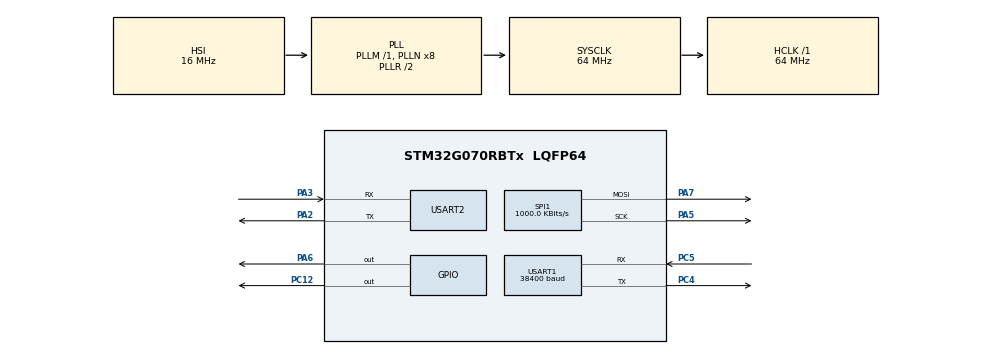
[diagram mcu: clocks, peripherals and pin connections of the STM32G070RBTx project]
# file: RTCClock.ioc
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Dma.Request0=SPI1_TX
Dma.SPI1_TX.0.Direction=DMA_MEMORY_TO_PERIPH
Dma.SPI1_TX.0.EventEnable=DISABLE
Dma.SPI1_TX.0.Instance=DMA1_Channel1
Dma.SPI1_TX.0.MemDataAlignment=DMA_MDATAALIGN_BYTE
Dma.SPI1_TX.0.MemInc=DMA_MINC_ENABLE
Dma.SPI1_TX.0.Mode=DMA_NORMAL
Dma.SPI1_TX.0.PeriphDataAlignment=DMA_PDATAALIGN_BYTE
Dma.SPI1_TX.0.PeriphInc=DMA_PINC_DISABLE
Dma.SPI1_TX.0.Polarity=HAL_DMAMUX_REQ_GEN_RISING
Dma.SPI1_TX.0.Priority=DMA_PRIORITY_HIGH
Dma.SPI1_TX.0.RequestNumber=1
Dma.SPI1_TX.0.SignalID=NONE
Dma.SPI1_TX.0.SyncEnable=DISABLE
Dma.SPI1_TX.0.SyncPolarity=HAL_DMAMUX_SYNC_NO_EVENT
Dma.SPI1_TX.0.SyncRequestNumber=1
Dma.SPI1_TX.0.SyncSignalID=NONE
Mcu.Family=STM32G0
Mcu.Name=STM32G070RBTx
Mcu.Package=LQFP64
NVIC.DMA1_Channel1_IRQn=true\:0\:0\:false\:false\:true\:false\:true\:true
NVIC.RTC_TAMP_IRQn=true\:0\:0\:false\:false\:true\:true\:true\:true
NVIC.TIM7_IRQn=true\:0\:0\:false\:false\:true\:true\:true\:true
NVIC.USART1_IRQn=true\:0\:0\:false\:false\:true\:true\:true\:true
PA13.Mode=Serial_Wire
PA13.Signal=SYS_SWDIO
PA14-BOOT0.Mode=Serial_Wire
PA14-BOOT0.Signal=SYS_SWCLK
PA2.Mode=Asynchronous
PA2.Signal=USART2_TX
PA3.Mode=Asynchronous
PA3.Signal=USART2_RX
PA5.Mode=TX_Only_Simplex_Unidirect_Master
PA5.Signal=SPI1_SCK
PA6.GPIO_Speed=GPIO_SPEED_FREQ_HIGH
PA6.Signal=GPIO_Output
PA7.Mode=TX_Only_Simplex_Unidirect_Master
PA7.Signal=SPI1_MOSI
PC12.Signal=GPIO_Output
PC14-OSC32_IN\ (PC14).Mode=LSE-External-Oscillator
PC14-OSC32_IN\ (PC14).Signal=RCC_OSC32_IN
PC15-OSC32_OUT\ (PC15).Mode=LSE-External-Oscillator
PC15-OSC32_OUT\ (PC15).Signal=RCC_OSC32_OUT
PC4.Mode=Asynchronous
PC4.Signal=USART1_TX
PC5.Mode=Asynchronous
PC5.Signal=USART1_RX
ProjectManager.HeapSize=0x400
ProjectManager.StackSize=0x600
ProjectManager.TargetToolchain=STM32CubeIDE
RCC.ADCFreq_Value=64000000
RCC.AHBFreq_Value=64000000
RCC.CortexFreq_Value=64000000
RCC.EXTERNAL_CLOCK_VALUE=12288000
RCC.HCLKFreq_Value=64000000
RCC.HSE_VALUE=8000000
RCC.HSI_VALUE=16000000
RCC.RTCClockSelection=RCC_RTCCLKSOURCE_LSE
RCC.SYSCLKFreq_VALUE=64000000
RCC.SYSCLKSource=RCC_SYSCLKSOURCE_PLLCLK
RCC.VCOOutputFreq_Value=128000000
RTC.Alarm-Alarm\ A=RTC_ALARM_A
RTC.AlarmMaskDateWeekDay-Alarm\ A=RTC_ALARMMASK_DATEWEEKDAY
RTC.AlarmMaskHours-Alarm\ A=RTC_ALARMMASK_HOURS
RTC.AlarmMaskMinutes-Alarm\ A=RTC_ALARMMASK_MINUTES
RTC.Format=RTC_FORMAT_BIN
RTC.Seconds_A-Alarm\ A=1
SPI1.BaudRatePrescaler=SPI_BAUDRATEPRESCALER_64
SPI1.CalculateBaudRate=1000.0 KBits/s
SPI1.DataSize=SPI_DATASIZE_8BIT
SPI1.Direction=SPI_DIRECTION_2LINES
SPI1.FirstBit=SPI_FIRSTBIT_LSB
SPI1.Mode=SPI_MODE_MASTER
SPI1.VirtualType=VM_MASTER
TIM7.Period=60000 - 1
TIM7.Prescaler=64000 - 1
USART1.BaudRate=38400
USART1.VirtualMode-Asynchronous=VM_ASYNC
USART2.VirtualMode-Asynchronous=VM_ASYNC
VP_RTC_VS_RTC_Activate.Mode=RTC_Enabled
VP_RTC_VS_RTC_Alarm_A_Intern.Mode=Alarm A
VP_RTC_VS_RTC_Calendar.Mode=RTC_Calendar
VP_TIM7_VS_ClockSourceINT.Mode=Enable_Timer
board=NUCLEO-G070RB

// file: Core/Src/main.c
/* USER CODE BEGIN Header */
/**
  ******************************************************************************
  * @file           : main.c
  * @brief          : Main program body
  ******************************************************************************
  * @attention
  *
  * Copyright (c) 2024 STMicroelectronics.
  * All rights reserved.
  *
  * This software is licensed under terms that can be found in the LICENSE file
  * in the root directory of this software component.
  * If no LICENSE file comes with this software, it is provided AS-IS.
  *
  ******************************************************************************
  */
/* USER CODE END Header */
#include "main.h"
#include "dma.h"
#include "rtc.h"
#include "spi.h"
#include "tim.h"
#include "usart.h"
#include "gpio.h"

/* USER CODE BEGIN Includes */
#include "UTC.h"
/* USER CODE END Includes */

/* USER CODE BEGIN PV */
#define DEBUG 0
/* USER CODE END PV */

void SystemClock_Config(void);
/* USER CODE BEGIN PFP */
RTC_TimeTypeDef myTime;
RTC_DateTypeDef myDate;
bool Is12HourEnabled = false;
bool IsDST = false;

/* USER CODE END PFP */

/* USER CODE BEGIN 0 */

#define BTN_PIN			GPIO_PIN_0
#define BTN_PORT		GPIOC

uint8_t UTC_Constant = 0;

int8_t status = 0;
uint32_t ms_start;
volatile int NumPress = 0;
uint32_t button_press_time = 0;
uint32_t button_release_time = 0;
uint32_t last_press_time = 0;
uint8_t press_count = 0;
uint8_t button_state = 0;
uint8_t gpsCheck = 0;
uint8_t long_press_detected = 0;
bool inMenu = false;
int rtc_stage = -1;
static int lastCleanTime = -1;

static TimeOffset utcOffset;
int offsetMinutes;

#define BUFF_SIZE 100
char gps_buff[BUFF_SIZE];

//Takes the current status of the button, which is determined by the process_button_events() function,
//and provides functionality for the button and its different presses
void Update_Changes(int btn_status)
{
#if DEBUG==1
	if(btn_status == 1)			{	printf("Button Pressed: Once \r\n"); }
	else if(btn_status == 2)	{	printf("Button Pressed: Twice \r\n");}
	else if(btn_status == 3)	{	printf("Button Pressed: for 5 seconds\r\n");}
#endif

	//Single press changes between daylight savings time
	if(btn_status == 1){
		IsDST = !IsDST;
		BackupSettings();
	}
	//Double tap changes between 12 and 24 hour time
	else if(btn_status == 2){
		Is12HourEnabled = !Is12HourEnabled;
		BackupSettings();
	}
	//Holding the button for 5 seconds allows someone to change their UTC offsets
	else if(btn_status == 3){
		uint8_t utc_set_state = 0, button_state;
		uint32_t utc_ms_count = 0;
		uint8_t menuOpen = 0;
		inMenu = true;

		while(utc_set_state < 10){
			switch(utc_set_state){
				case 0:
					utc_ms_count = HAL_GetTick();
					utc_set_state = 1;
					Show_UTC(UTC_Constant);
					break;

				case 1:
					button_state = HAL_GPIO_ReadPin(BTN_PORT, BTN_PIN);
					if(button_state == GPIO_PIN_RESET){
						//Provides a barrier before it allows the offset to change, if this wasn't here it would
						//add one to the offset as soon as someone got into the menu
						if(menuOpen == 1) {
							if(UTC_Constant >= 38)	UTC_Constant = 1;
							else					UTC_Constant++;
						}
						HAL_Delay(100);
						#if DEBUG == 1
						//printf("new utc= %d \r\n", UTC_Constant);
						#endif
						utc_ms_count = HAL_GetTick();
						Show_UTC(UTC_Constant);
						menuOpen = 1;

						//This barrier makes sure the program doesn't loop and add to the offset while someone is
						//holding their finger on the button
						while(button_state == HAL_GPIO_ReadPin(BTN_PORT, BTN_PIN));
					}

					if(HAL_GetTick()-utc_ms_count > 5000){
						utc_set_state = 2;

						Update_Timezone();
						#if DEBUG == 1
						printf("utc success: %d \r\n",UTC_Constant);
						#endif

						//Fills the gps buffer with zeros, if the gps doesn't get a new reading it won't
						//use the previous time
						memset(gps_buff, 0, BUFF_SIZE);
					}
					break;
				case 2:
					Read_GPS(gps_buff, BUFF_SIZE);

					if(strstr(gps_buff, "$GNRMC") != NULL){
						Parse_GPGGA(gps_buff);
						utc_set_state = 20;
					}

					BackupSettings();

					inMenu = false;
					break;

				default: break;
			}

		}
	}
}

void BackupSettings(void) {
	//Adds the new offset to a backup register, this allows the offset to remain in the register even when power is lost
	uint32_t backup = 0;

	backup = UTC_Constant << 2;
    backup |= ((IsDST ? 1 : 0) << 1);
    backup |= (Is12HourEnabled ? 1 : 0);

	HAL_RTCEx_BKUPWrite(&hrtc, RTC_BKP_DR0, backup);
}

void Show_UTC(uint8_t utc_num)
{
	DisplayDigits(0, 0, 0, 0, utc_num/10, utc_num%10);

#if DEBUG == 1
	//printf("%d, %d, %d, %d, %d\r\n", test[4], test[3],test[2],test[1],test[0]);
#endif
}

Time GetLocalTime (void) {
	uint8_t newHour = -1;
	uint8_t newMin = -1;

	HAL_RTC_GetTime(&hrtc, &myTime, RTC_FORMAT_BIN);
	HAL_RTC_GetDate(&hrtc, &myDate, RTC_FORMAT_BIN);

	//myTime.Seconds = 12; myTime.Minutes = 59; myTime.Hours = 06;
	//Print_UTC_Time(myTime.Hours, myTime.Minutes, myTime.Seconds);

	int utcTotal = myTime.Hours * 60 + myTime.Minutes;

	int timeOffset = utcOffset.hours * 60 + utcOffset.minutes;

	if(IsDST) timeOffset += 60;

	int localTotal = utcTotal + timeOffset;

	if (localTotal < 0) localTotal += 1440;
	if (localTotal >= 1440) localTotal -= 1440;

	newHour = localTotal / 60;
	newMin = localTotal % 60;

	if(Is12HourEnabled){
		if(newHour > 12)
			newHour = newHour - 12;
		 if(newHour == 0)
			 newHour = 12;
	}

	Time localTime = {newHour, newMin, myTime.Seconds};

	return localTime;
}

void Show_Time(void)
{
	Time localTime = GetLocalTime();

	DisplayDigits(localTime.hours/10, localTime.hours%10,
				  localTime.minutes/10, localTime.minutes%10,
				  localTime.seconds/10, localTime.seconds%10);
}

void DisplayDigits(uint8_t hour1, uint8_t hour2, uint8_t min3, uint8_t min4, uint8_t sec5, uint8_t sec6) {
	static uint8_t shiftRegisters[8] = {0};
	uint16_t dig1, dig2, dig3, dig4, dig5, dig6;

	dig1 = 1U << sec6;
	dig2 = 1U << sec5;
	dig3 = 1U << min4;
	dig4 = 1U << min3;
	dig5 = 1U << hour2;
	dig6 = 1U << hour1;

	shiftRegisters[0] = dig1 & 0xFF;
	shiftRegisters[1] = ((dig2 & 0x3F) << 2) | ((dig1 >> 8) & 0x03);
	shiftRegisters[2] = ((dig3 & 0x0F) << 4) | ((dig2 >> 6) & 0x0F);
	shiftRegisters[3] = ((dig4 & 0x03) << 6) | ((dig3 >> 4) & 0x3F);
	shiftRegisters[4] = ((dig4 >> 2) & 0xFF);
	shiftRegisters[5] = dig5 & 0xFF;
	shiftRegisters[6] = ((dig6 & 0x3F) << 2) | ((dig5 >> 8) & 0x03);
	shiftRegisters[7] = ((dig6 >> 6) & 0x0F);

	HAL_SPI_Transmit_DMA(&hspi1, shiftRegisters, 8);
}

uint32_t f_write = 0xBABADEAD;
uint32_t f_read = 0;

/* USER CODE END 0 */

int main(void)
{

  /* MCU Configuration--------------------------------------------------------*/

  /* Reset of all peripherals, Initializes the Flash interface and the Systick. */
  HAL_Init();

  /* Configure the system clock */
  SystemClock_Config();

  /* Initialize all configured peripherals */
  MX_GPIO_Init();
  MX_DMA_Init();
  MX_RTC_Init();
  MX_SPI1_Init();
  MX_USART1_UART_Init();
  MX_USART2_UART_Init();
  MX_TIM7_Init();
  /* USER CODE BEGIN 2 */
#if DEBUG == 1
   printf(">> Program starts... \r\n");
#endif
   printf(">> Program starts... \r\n");

   if(HAL_RTCEx_BKUPRead(&hrtc, RTC_BKP_DR0) != 0x00) {
	   uint32_t backup = HAL_RTCEx_BKUPRead(&hrtc, RTC_BKP_DR0);

	   IsDST = backup & 10;
	   Is12HourEnabled = backup & 01;

	   UTC_Constant = backup >> 2;

	   Update_Timezone();
   }

  /* USER CODE END 2 */

  /* Infinite loop */
  /* USER CODE BEGIN WHILE */
  while (1)
  {
	  switch(rtc_stage){
		  case -1:
			 // Update_Changes(3);
			  Button_Init();
			  rtc_stage = 0;
			  break;
	  	  case 0:
	  		  Read_GPS(gps_buff, BUFF_SIZE);

			  if(strstr(gps_buff, "$GNRMC") != NULL){
				  printf(gps_buff);
				  Parse_GPGGA(gps_buff);
			  }

		  	  rtc_stage = 1;
	  		  break;

	  	  case 1:
	  		  HAL_TIM_Base_Start_IT(&htim7);

	  		  rtc_stage = 2;
	  		  break;

	  	  case 2:
#if DEBUG == 1
	  		  Read_GPS(gps_buff, BUFF_SIZE);

			  if(strstr(gps_buff, "$GNRMC") != NULL){
				  printf(gps_buff);
				  Parse_GPGGA(gps_buff);
			  }
#endif

			  int currentTime = myTime.Hours * 60 + myTime.Minutes;

			  if(currentTime != lastCleanTime && myTime.Seconds == 0) {
				  if ((myTime.Minutes % 15) == 0) {
					  //printf("%d,%d\n", myTime.Minutes, myTime.Seconds);
					  lastCleanTime = currentTime;
					  JackpotClean();
				  }
			  }

	  		  process_button_events();
	  		  Update_Changes(status);
	  		  status = -1;

	  		  break;

	  	  default: break;
	  }

    /* USER CODE END WHILE */

  }
}

void SystemClock_Config(void)
{
  RCC_OscInitTypeDef RCC_OscInitStruct = {0};
  RCC_ClkInitTypeDef RCC_ClkInitStruct = {0};

  /** Configure the main internal regulator output voltage
  */
  HAL_PWREx_ControlVoltageScaling(PWR_REGULATOR_VOLTAGE_SCALE1);

  /** Configure LSE Drive Capability
  */
  HAL_PWR_EnableBkUpAccess();
  __HAL_RCC_LSEDRIVE_CONFIG(RCC_LSEDRIVE_LOW);

  /** Initializes the RCC Oscillators according to the specified parameters
  * in the RCC_OscInitTypeDef structure.
  */
  RCC_OscInitStruct.OscillatorType = RCC_OSCILLATORTYPE_HSI|RCC_OSCILLATORTYPE_LSE;
  RCC_OscInitStruct.LSEState = RCC_LSE_ON;
  RCC_OscInitStruct.HSIState = RCC_HSI_ON;
  RCC_OscInitStruct.HSIDiv = RCC_HSI_DIV1;
  RCC_OscInitStruct.HSICalibrationValue = RCC_HSICALIBRATION_DEFAULT;
  RCC_OscInitStruct.PLL.PLLState = RCC_PLL_ON;
  RCC_OscInitStruct.PLL.PLLSource = RCC_PLLSOURCE_HSI;
  RCC_OscInitStruct.PLL.PLLM = RCC_PLLM_DIV1;
  RCC_OscInitStruct.PLL.PLLN = 8;
  RCC_OscInitStruct.PLL.PLLP = RCC_PLLP_DIV2;
  RCC_OscInitStruct.PLL.PLLR = RCC_PLLR_DIV2;
  if (HAL_RCC_OscConfig(&RCC_OscInitStruct) != HAL_OK)
  {
    Error_Handler();
  }

  /** Initializes the CPU, AHB and APB buses clocks
  */
  RCC_ClkInitStruct.ClockType = RCC_CLOCKTYPE_HCLK|RCC_CLOCKTYPE_SYSCLK
                              |RCC_CLOCKTYPE_PCLK1;
  RCC_ClkInitStruct.SYSCLKSource = RCC_SYSCLKSOURCE_PLLCLK;
  RCC_ClkInitStruct.AHBCLKDivider = RCC_SYSCLK_DIV1;
  RCC_ClkInitStruct.APB1CLKDivider = RCC_HCLK_DIV1;

  if (HAL_RCC_ClockConfig(&RCC_ClkInitStruct, FLASH_LATENCY_2) != HAL_OK)
  {
    Error_Handler();
  }
}

/* USER CODE BEGIN 4 */
void JackpotClean(void) {
	inMenu = true;

	uint8_t currentDigit[6] = {0,0,0,0,0,0};  // current displayed digits
	uint8_t hour = 0;
	uint8_t minute = 0;
	uint8_t second = 0;

	const uint16_t spinDelay = 50; // ms speed of random spin
	const uint16_t cycle[10] = {0,5,2,3,9,8,7,1,4,6};
	uint8_t cycleCount = 0;
	uint32_t start = HAL_GetTick();

	// Total spin duration per tube
	uint16_t spinTimeStart[6] = {0, 1000, 2000, 3000, 4000, 5000};
	uint16_t spinTimeEnd[6] = {1000, 2000, 3000, 4000, 5000, 6000};

	while (1) {
		uint32_t current = HAL_GetTick();
		int complete = 1;

		Time localTime = GetLocalTime();

		hour = localTime.hours;
		minute = localTime.minutes;
		second = localTime.seconds;

		// Target digits
		uint8_t target[6] = {hour / 10, hour % 10, minute / 10, minute % 10, second / 10, second % 10};

		for (int i = 0; i < 6; i++) {
			if (current - start >= spinTimeStart[i] && current - start < spinTimeEnd[i]) {
				complete = 0;

				currentDigit[i] = cycle[cycleCount % 10];
			} else if (current - start >= spinTimeEnd[i]) {
				complete = 1;

				currentDigit[i] = target[i]; // land on correct digit
			} else {
				currentDigit[i] = target[i]; // land on correct digit
			}
		}

		// Display the 6 digits
		DisplayDigits(currentDigit[0], currentDigit[1], currentDigit[2],
				currentDigit[3], currentDigit[4], currentDigit[5]);

		HAL_Delay(spinDelay);

		cycleCount++;

		if (complete) break;
	}

	inMenu = false;
	Show_Time();
}

void Read_GPS(char *buff, uint8_t size)
{
	uint8_t idx = 0;

	MX_USART1_UART_Init();
	USART1->CR1 |= USART_CR1_RE;
	while(idx < size)
	{
		if(USART1->ISR & USART_ISR_RXNE_RXFNE){
			buff[idx] = USART1->RDR;
			if(buff[idx] == '\n'){
				buff[++idx] = '\0';
				return;
			}
			idx++;
		}
	}

	USART1->CR1 &= ~USART_CR1_RE;

}

void Parse_GPGGA(char *sentence)
{
	uint8_t sec = 0, min = 0, hour = 0;
	char utc_time[10] = "";
	char gpsParsed[15][10] = { NULL };
	uint8_t i = 0;

	char* token = strtok(sentence, ",");

	do {
		strcpy(gpsParsed[i], token);
		token = strtok(NULL, ",");
		i++;
	} while(token != NULL);

	//token = strtok(NULL, ",");

	snprintf(utc_time, sizeof(utc_time), "%s", gpsParsed[1]);  // Copy the time string

	// Extract hours, minutes, and seconds
	hour = (utc_time[0] - '0') * 10 + (utc_time[1] - '0');
	min = (utc_time[2] - '0') * 10 + (utc_time[3] - '0');
	sec = (utc_time[4] - '0') * 10 + (utc_time[5] - '0');

#if DEBUG == 1
	//Print_UTC_Time(hour, min, sec);
#endif
	//RTC_SetTime(hour, min, sec);

	if(gpsParsed[6][0] == '1' || gpsParsed[6][0] == '2' || gpsParsed[2][0] == 'A' || gpsParsed[1][6] == '.'){
		RTC_SetTime(hour, min, sec);
		RTC_SetDate(24, RTC_MONTH_DECEMBER, 20, RTC_WEEKDAY_SUNDAY);

		HAL_GPIO_WritePin(GPIOC, GPIO_PIN_12, 1);
	} else {
		//Turn off led when no gps signal
		HAL_GPIO_WritePin(GPIOC, GPIO_PIN_12, 0);
	}
	//Update_Changes(0);*/
}

void Print_UTC_Time(uint8_t hour, uint8_t minute, uint8_t second) {
	char time_str[25];
    snprintf(time_str, sizeof(time_str), "UTC Time: %02d:%02d:%02d \r\n", hour, minute, second);
    HAL_UART_Transmit(&huart2, (uint8_t*)time_str, strlen(time_str), 100);
}

void Update_Timezone() {
	utcOffset = calculate_utc_offset(UTC_Constant);
	offsetMinutes = utcOffset.hours * 60 + utcOffset.minutes;
}

//Takes UTC time from the GPS to set the RTC
void RTC_SetTime(uint8_t hour, uint8_t min, uint8_t sec)
{
	RTC_TimeTypeDef sTime;

	sTime.Hours = hour;
	sTime.Minutes = min;
	sTime.Seconds = sec;
	sTime.SubSeconds = 0;
	sTime.TimeFormat = RTC_HOURFORMAT12_AM;
	sTime.DayLightSaving = RTC_DAYLIGHTSAVING_NONE;
	sTime.StoreOperation = RTC_STOREOPERATION_RESET;
	if (HAL_RTC_SetTime(&hrtc, &sTime, RTC_FORMAT_BIN) != HAL_OK)
	{
		Error_Handler();
	}

	//Print_UTC_Time(new_hour, new_min, sec);
}

void RTC_SetDate(uint8_t year, uint8_t month, uint8_t date, uint8_t day)
{
	RTC_DateTypeDef sDate = {0};

	sDate.WeekDay = day;
	sDate.Month = month;
	sDate.Date = date;
	sDate.Year = year;

	if (HAL_RTC_SetDate(&hrtc, &sDate, RTC_FORMAT_BIN) != HAL_OK)
	{
		Error_Handler();
	}
}

void Button_Init(void)
{
	GPIO_InitTypeDef GPIO_InitStruct = {0};
	/* USER CODE BEGIN MX_GPIO_Init_1 */
	/* USER CODE END MX_GPIO_Init_1 */

	/* GPIO Ports Clock Enable */
	__HAL_RCC_GPIOC_CLK_ENABLE();
	__HAL_RCC_GPIOA_CLK_ENABLE();
	__HAL_RCC_GPIOB_CLK_ENABLE();

	/*Configure GPIO pin Output Level */
	HAL_GPIO_WritePin(BTN_PORT, BTN_PIN, GPIO_PIN_RESET);

	GPIO_InitStruct.Pin = BTN_PIN;
	GPIO_InitStruct.Mode = GPIO_MODE_INPUT;
	GPIO_InitStruct.Pull = GPIO_PULLUP;
	HAL_GPIO_Init(BTN_PORT, &GPIO_InitStruct);
}

void HAL_TIM_PeriodElapsedCallback(TIM_HandleTypeDef *htim){
	static int8_t timeElapsed = 5;

	if(htim->Instance == TIM7) {
		if(gpsCheck == timeElapsed) {
			Read_GPS(gps_buff, BUFF_SIZE);

			if(strstr(gps_buff, "$GNRMC") != NULL){
			  printf(gps_buff);
			  Parse_GPGGA(gps_buff);
			}

			gpsCheck = 0;
		} else {
			gpsCheck++;
		}
	}
}

//In rtc.c by setting the alarm such that the alarm mask has RTC_ALARMMASK_ALL set the alarm will trigger every second
//This allows for a good display driver that is bound to the rtc, rather than using a timer
void HAL_RTC_AlarmAEventCallback(RTC_HandleTypeDef *hrtc) {
	if(!inMenu) {
		Show_Time();
	}
}

void HAL_SPI_TxCpltCallback(SPI_HandleTypeDef *hspi){
	HAL_GPIO_WritePin(GPIOA, GPIO_PIN_6, 1);
	HAL_GPIO_WritePin(GPIOA, GPIO_PIN_6, 0);
}

void process_button_events(void)
{
    //static uint32_t debounce_time = 0;
    static uint8_t pending_single_press = 0;

    // Read the button state
    uint8_t current_state = HAL_GPIO_ReadPin(BTN_PORT, BTN_PIN);

    if (current_state == GPIO_PIN_RESET && button_state == 0) {
        // Button Press Detected
        button_press_time = HAL_GetTick();
        button_state = 1;
        if ((button_press_time - last_press_time) < 1000) {
            press_count++;
        } else {
            press_count = 1;
        }
        last_press_time = button_press_time;
    }

    if (current_state == GPIO_PIN_SET && button_state == 1) {
        // Button Released
        button_release_time = HAL_GetTick();
        button_state = 0;

        if (!long_press_detected) {
            if (press_count == 1) {
                // Mark a pending single press
                pending_single_press = 1;
            } else if (press_count == 2) {
                // Handle double press immediately
                //double_press_event();
            	status = 2;
                press_count = 0;
                pending_single_press = 0; // Clear pending single press
            }
        }
        long_press_detected = 0;
    }

    // Check for long press
    if (button_state == 1 && (HAL_GetTick() - button_press_time) > 3000 && !long_press_detected) {
        long_press_detected = 1;
        //long_press_event();
        status = 3;
        pending_single_press = 0; // Cancel pending single press
    }

    // Handle single press after a delay to confirm no double press
    if (pending_single_press && (HAL_GetTick() - last_press_time) > 300) {
        //single_press_event();
    	status = 1;
        pending_single_press = 0; // Clear pending single press
    }
}

void _putchar(char character)
{
	while(!(USART2->ISR & UART_FLAG_TXE));
	USART2->TDR = character & 0xFF;
}

/* USER CODE END 4 */

void Error_Handler(void)
{
  __disable_irq();
  while (1)
  {
  }
}
